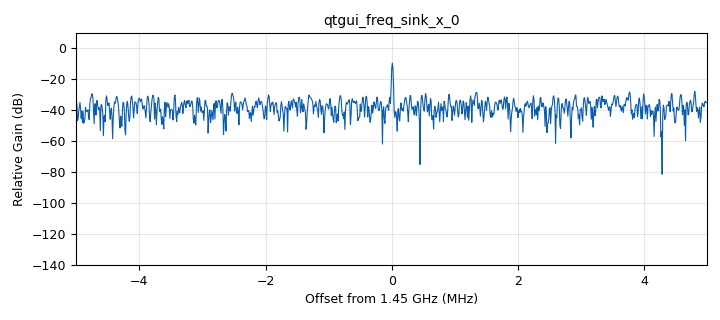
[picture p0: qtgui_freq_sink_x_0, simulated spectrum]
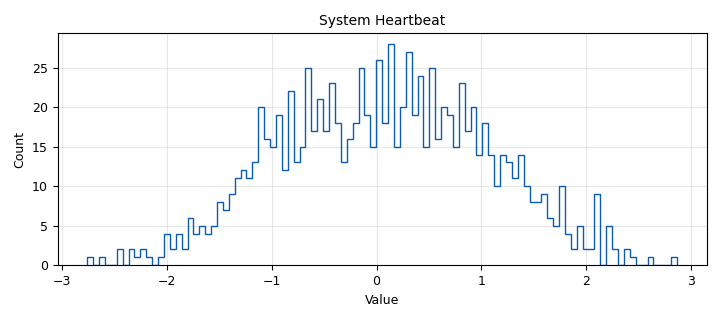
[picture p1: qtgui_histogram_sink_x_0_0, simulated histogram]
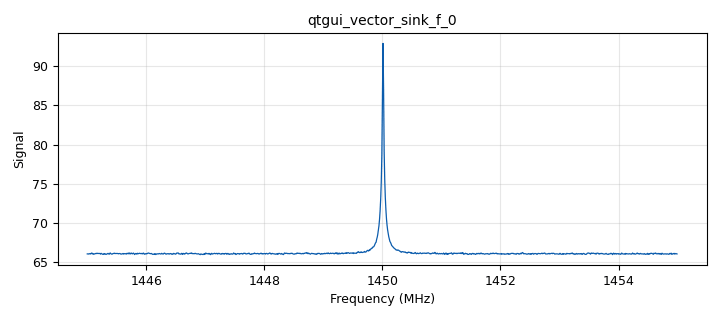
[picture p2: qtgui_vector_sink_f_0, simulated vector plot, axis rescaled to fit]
options:
  parameters:
    generate_options: qt_gui
    id: Hydrogen_Flowgraph
    output_language: python
    title: Hydrogen_Flowgraph
  states: {}

blocks:
- name: P_cold
  id: variable_qtgui_entry
  parameters:
    gui_hint: Flowgraph_Tabs@0
    label: Cold Pw
    type: int
    value: '33'
  states: {}
- name: P_hot
  id: variable_qtgui_entry
  parameters:
    gui_hint: Flowgraph_Tabs@0
    label: Hot Pw
    type: int
    value: '64'
  states: {}
- name: T_cold
  id: variable
  parameters:
    value: '10'
  states: {}
- name: T_hot
  id: variable
  parameters:
    value: '300'
  states: {}
- name: bbgain
  id: variable
  parameters:
    value: '0'
  states: {}
- name: center_freq
  id: variable_qtgui_range
  parameters:
    gui_hint: Flowgraph_Tabs@1
    start: 900e6
    step: 4e6
    stop: 3e9
    value: 1.45e9
    widget: slider
  states: {}
- name: custom_window
  id: variable
  parameters:
    value: sinc*np.hamming(4*vec_length)
  states: {}
- name: date
  id: variable
  parameters:
    value: '''Sun300625/'''
  states: {}
- name: dc_gain
  id: variable_qtgui_entry
  parameters:
    label: DC Gain
    type: real
    value: 1e5
  states: {}
- name: dire
  id: variable
  parameters:
    value: '''/home/georkeso/observations/Radiometer/'''
  states: {}
- name: file
  id: variable
  parameters:
    value: str(rfgain)+'_'+str(ifgain)+'_'+str(bbgain)+'G'+str(samp_rate/10e5)+'MHz.dat'
  states: {}
- name: file_rate
  id: variable
  parameters:
    value: '1'
  states: {}
- name: freq
  id: variable
  parameters:
    value: 1.45e9
  states: {}
- name: ifgain
  id: variable
  parameters:
    value: '0'
  states: {}
- name: integrationTimeLong
  id: variable
  parameters:
    value: '5'
  states: {}
- name: integrationTimeShort
  id: variable
  parameters:
    value: '.5'
  states: {}
- name: intermediate_rate
  id: variable
  parameters:
    value: 1e3
  states: {}
- name: observationDec
  id: variable
  parameters:
    value: '130.2'
  states: {}
- name: observationObject
  id: variable
  parameters:
    value: '"M82"'
  states: {}
- name: observationRA
  id: variable
  parameters:
    value: '42.5'
  states: {}
- name: observationType
  id: variable
  parameters:
    value: '''Sun3/'''
  states: {}
- name: output_filename
  id: variable
  parameters:
    value: '"observation.dat"'
  states: {}
- name: receiver
  id: variable
  parameters:
    value: '"80cm Sun"'
  states: {}
- name: restFreq
  id: variable
  parameters:
    value: 9.75e9
  states: {}
- name: rfgain
  id: variable
  parameters:
    value: '30'
  states: {}
- name: samp_rate
  id: variable
  parameters:
    value: 10e6
  states: {}
- name: sinc
  id: variable
  parameters:
    value: np.sinc(sinc_sample_locations/np.pi)
  states: {}
- name: sinc_sample_locations
  id: variable
  parameters:
    value: np.arange(-np.pi*4/2.0, np.pi*4/2.0, np.pi/vec_length)
  states: {}
- name: timenow
  id: variable
  parameters:
    value: datetime.now().strftime("%Y-%m-%d_%H.%M.%S")
  states: {}
- name: vec_length
  id: variable
  parameters:
    value: '1024'
  states: {}
- name: Flowgraph_Tabs
  id: qtgui_tab_widget
  parameters:
    label0: Sun_Flowgraph
    label1: Hydrogen_Flowgraph
    num_tabs: '2'
  states: {}
- name: analog_noise_source_x_0
  id: analog_noise_source_x
  parameters:
    amp: '1'
    noise_type: analog.GR_GAUSSIAN
    seed: '0'
    type: complex
  states: {}
- name: analog_sig_source_x_0
  id: analog_sig_source_x
  parameters:
    amp: '1'
    freq: 10e3
    offset: '0'
    phase: '0'
    samp_rate: samp_rate
    type: complex
    waveform: analog.GR_COS_WAVE
  states: {}
- name: blocks_add_xx_0
  id: blocks_add_xx
  parameters:
    num_inputs: '4'
    type: complex
    vlen: vec_length
  states: {}
- name: blocks_add_xx_1
  id: blocks_add_xx
  parameters:
    type: complex
  states: {}
- name: blocks_complex_to_mag_squared_0_0
  id: blocks_complex_to_mag_squared
  parameters:
    vlen: vec_length
  states: {}
- name: blocks_complex_to_real_0_0
  id: blocks_complex_to_real
  parameters: {}
  states: {}
- name: blocks_delay_0
  id: blocks_delay
  parameters:
    delay: 3*vec_length
    type: complex
  states: {}
- name: blocks_delay_0_0
  id: blocks_delay
  parameters:
    delay: vec_length
    type: complex
  states: {}
- name: blocks_delay_0_1
  id: blocks_delay
  parameters:
    delay: 2*vec_length
    type: complex
  states: {}
- name: blocks_file_sink_1
  id: blocks_file_sink
  parameters:
    append: 'True'
    file: /home/dim/astro-beam-recruitment/flowgraphs/Part_7/obs2.dat
    type: float
    vlen: vec_length
  states: {}
- name: blocks_integrate_xx_0
  id: blocks_integrate_xx
  parameters:
    decim: int(samp_rate/vec_length)
    type: float
    vlen: vec_length
  states: {}
- name: blocks_multiply_const_vxx_0_0_0
  id: blocks_multiply_const_vxx
  parameters:
    const: custom_window[2*vec_length:3*vec_length]
    type: complex
    vlen: vec_length
  states: {}
- name: blocks_multiply_const_vxx_0_2
  id: blocks_multiply_const_vxx
  parameters:
    const: custom_window[-vec_length:]
    type: complex
    vlen: vec_length
  states: {}
- name: blocks_multiply_const_vxx_0_2_0
  id: blocks_multiply_const_vxx
  parameters:
    const: custom_window[0:vec_length]
    type: complex
    vlen: vec_length
  states: {}
- name: blocks_multiply_const_vxx_0_2_0_0
  id: blocks_multiply_const_vxx
  parameters:
    const: custom_window[0:vec_length]
    type: complex
    vlen: vec_length
  states: {}
- name: blocks_nlog10_ff_0
  id: blocks_nlog10_ff
  parameters:
    k: '0'
    n: '10'
    vlen: vec_length
  states: {}
- name: blocks_stream_to_vector_0
  id: blocks_stream_to_vector
  parameters:
    num_items: vec_length
    type: complex
  states: {}
- name: blocks_stream_to_vector_0_3
  id: blocks_stream_to_vector
  parameters:
    num_items: vec_length
    type: complex
  states: {}
- name: blocks_stream_to_vector_0_5
  id: blocks_stream_to_vector
  parameters:
    num_items: vec_length
    type: complex
  states: {}
- name: blocks_stream_to_vector_0_5_0
  id: blocks_stream_to_vector
  parameters:
    num_items: vec_length
    type: complex
  states: {}
- name: blocks_throttle2_0
  id: blocks_throttle2
  parameters:
    samples_per_second: samp_rate
    type: complex
  states: {}
- name: fft_vxx_0
  id: fft_vxx
  parameters:
    fft_size: vec_length
    forward: 'True'
    shift: 'True'
    type: complex
    window: window.rectangular(vec_length)
  states: {}
- name: import_0
  id: import
  parameters:
    imports: import pmt
  states: {}
- name: import_1
  id: import
  parameters:
    imports: from datetime import datetime
  states: {}
- name: import_2
  id: import
  parameters:
    imports: import numpy as np
  states: {}
- name: qtgui_freq_sink_x_0
  id: qtgui_freq_sink_x
  parameters:
    bw: samp_rate
    fc: center_freq
    fftsize: '1024'
    type: complex
  states: {}
- name: qtgui_histogram_sink_x_0_0
  id: qtgui_histogram_sink_x
  parameters:
    bins: '100'
    gui_hint: 'Flowgraph_Tabs@1 : 0,8,3,1'
    name: '"System Heartbeat"'
    size: '1024'
    type: float
    xmax: '1'
    xmin: '-1'
  states: {}
- name: qtgui_vector_sink_f_0
  id: qtgui_vector_sink_f
  parameters:
    average: '0.05'
    gui_hint: 'Flowgraph_Tabs@1 : 4,0,20,10'
    vlen: vec_length
    x_axis_label: '"Frequency (MHz)"'
    x_start: (center_freq-(samp_rate/2))/1e6
    x_step: (samp_rate/vec_length)/1e6
    x_units: '"MHz"'
    y_axis_label: '"Signal"'
  states: {}

connections:
- [analog_noise_source_x_0, '0', blocks_add_xx_1, '1']
- [analog_sig_source_x_0, '0', blocks_throttle2_0, '0']
- [blocks_add_xx_0, '0', fft_vxx_0, '0']
- [blocks_add_xx_1, '0', blocks_complex_to_real_0_0, '0']
- [blocks_add_xx_1, '0', blocks_delay_0, '0']
- [blocks_add_xx_1, '0', blocks_delay_0_0, '0']
- [blocks_add_xx_1, '0', blocks_delay_0_1, '0']
- [blocks_add_xx_1, '0', blocks_stream_to_vector_0, '0']
- [blocks_add_xx_1, '0', qtgui_freq_sink_x_0, '0']
- [blocks_complex_to_mag_squared_0_0, '0', blocks_integrate_xx_0, '0']
- [blocks_complex_to_real_0_0, '0', qtgui_histogram_sink_x_0_0, '0']
- [blocks_delay_0, '0', blocks_stream_to_vector_0_3, '0']
- [blocks_delay_0_0, '0', blocks_stream_to_vector_0_5, '0']
- [blocks_delay_0_1, '0', blocks_stream_to_vector_0_5_0, '0']
- [blocks_integrate_xx_0, '0', blocks_nlog10_ff_0, '0']
- [blocks_multiply_const_vxx_0_0_0, '0', blocks_add_xx_0, '1']
- [blocks_multiply_const_vxx_0_2, '0', blocks_add_xx_0, '0']
- [blocks_multiply_const_vxx_0_2_0, '0', blocks_add_xx_0, '3']
- [blocks_multiply_const_vxx_0_2_0_0, '0', blocks_add_xx_0, '2']
- [blocks_nlog10_ff_0, '0', blocks_file_sink_1, '0']
- [blocks_nlog10_ff_0, '0', qtgui_vector_sink_f_0, '0']
- [blocks_stream_to_vector_0, '0', blocks_multiply_const_vxx_0_2, '0']
- [blocks_stream_to_vector_0_3, '0', blocks_multiply_const_vxx_0_2_0, '0']
- [blocks_stream_to_vector_0_5, '0', blocks_multiply_const_vxx_0_0_0, '0']
- [blocks_stream_to_vector_0_5_0, '0', blocks_multiply_const_vxx_0_2_0_0, '0']
- [blocks_throttle2_0, '0', blocks_add_xx_1, '0']
- [fft_vxx_0, '0', blocks_complex_to_mag_squared_0_0, '0']

metadata:
  file_format: 1
  grc_version: 3.10.9.2
